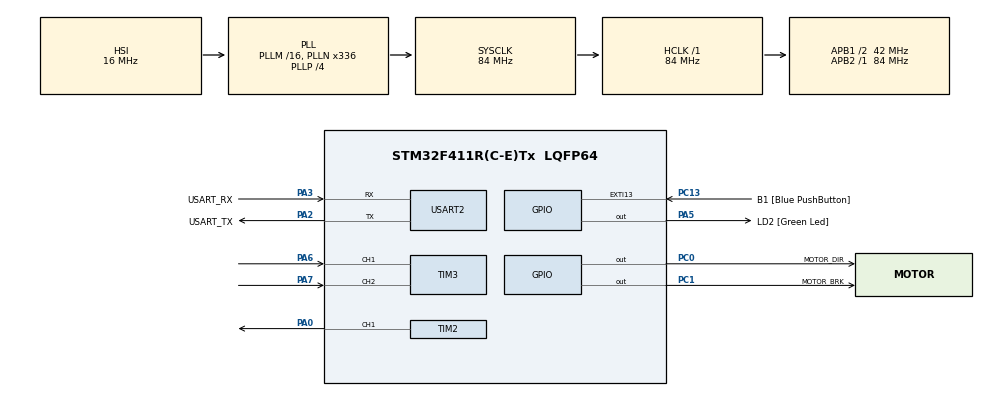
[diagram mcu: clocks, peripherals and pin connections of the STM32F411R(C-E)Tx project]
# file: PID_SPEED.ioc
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Mcu.Family=STM32F4
Mcu.Name=STM32F411R(C-E)Tx
Mcu.Package=LQFP64
NVIC.PriorityGroup=NVIC_PRIORITYGROUP_0
NVIC.TIM1_UP_TIM10_IRQn=true\:0\:0\:false\:false\:true\:true\:true\:true
NVIC.TIM3_IRQn=true\:0\:0\:false\:false\:true\:true\:true\:true
NVIC.USART2_IRQn=true\:0\:0\:false\:false\:true\:true\:true\:true
PA0-WKUP.GPIO_PuPd=GPIO_PULLUP
PA0-WKUP.Signal=S_TIM2_CH1_ETR
PA13.GPIO_Label=TMS
PA13.Signal=SYS_JTMS-SWDIO
PA14.GPIO_Label=TCK
PA14.Signal=SYS_JTCK-SWCLK
PA2.GPIO_Label=USART_TX
PA2.Mode=Asynchronous
PA2.Signal=USART2_TX
PA3.GPIO_Label=USART_RX
PA3.Mode=Asynchronous
PA3.Signal=USART2_RX
PA5.GPIO_Label=LD2 [Green Led]
PA5.Signal=GPIO_Output
PA6.GPIO_PuPd=GPIO_PULLUP
PA6.Signal=S_TIM3_CH1
PA7.GPIO_PuPd=GPIO_PULLUP
PA7.Signal=S_TIM3_CH2
PB3.GPIO_Label=SWO
PB3.Signal=SYS_JTDO-SWO
PC0.GPIO_Label=MOTOR_DIR
PC0.Signal=GPIO_Output
PC1.GPIO_Label=MOTOR_BRK
PC1.Signal=GPIO_Output
PC13-ANTI_TAMP.GPIO_Label=B1 [Blue PushButton]
PC13-ANTI_TAMP.GPIO_ModeDefaultEXTI=GPIO_MODE_IT_FALLING
PC13-ANTI_TAMP.Signal=GPXTI13
PC14-OSC32_IN.Signal=RCC_OSC32_IN
PC15-OSC32_OUT.Signal=RCC_OSC32_OUT
PH0\ -\ OSC_IN.Signal=RCC_OSC_IN
PH1\ -\ OSC_OUT.Signal=RCC_OSC_OUT
ProjectManager.HeapSize=0x200
ProjectManager.StackSize=0x400
ProjectManager.TargetToolchain=STM32CubeIDE
RCC.48MHZClocksFreq_Value=84000000
RCC.AHBFreq_Value=84000000
RCC.APB1CLKDivider=RCC_HCLK_DIV2
RCC.APB1Freq_Value=42000000
RCC.APB1TimFreq_Value=84000000
RCC.APB2Freq_Value=84000000
RCC.APB2TimFreq_Value=84000000
RCC.CortexFreq_Value=84000000
RCC.FLatency-AdvancedSettings=FLASH_LATENCY_2
RCC.HCLKFreq_Value=84000000
RCC.HSE_VALUE=8000000
RCC.HSI_VALUE=16000000
RCC.LSE_VALUE=32768
RCC.PLLN=336
RCC.PLLP=RCC_PLLP_DIV4
RCC.SYSCLKFreq_VALUE=84000000
RCC.SYSCLKSource=RCC_SYSCLKSOURCE_PLLCLK
RCC.VCOOutputFreq_Value=336000000
SH.S_TIM2_CH1_ETR.0=TIM2_CH1,PWM Generation1 CH1
SH.S_TIM3_CH1.0=TIM3_CH1,Encoder_Interface
SH.S_TIM3_CH2.0=TIM3_CH2,Encoder_Interface
TIM10.Period=1000-1
TIM10.Prescaler=840-1
TIM2.Channel-PWM\ Generation1\ CH1=TIM_CHANNEL_1
TIM2.Period=10000-1
TIM2.Prescaler=0
TIM2.Pulse-PWM\ Generation1\ CH1=0
TIM3.EncoderMode=TIM_ENCODERMODE_TI12
USART2.VirtualMode=VM_ASYNC
VP_TIM10_VS_ClockSourceINT.Mode=Enable_Timer
board=NUCLEO-F411RE

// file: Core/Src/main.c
/* USER CODE BEGIN Header */
/**
 ******************************************************************************
 * @file           : main.c
 * @brief          : Main program body
 ******************************************************************************
 * @attention
 *
 * Copyright (c) 2022 STMicroelectronics.
 * All rights reserved.
 *
 * This software is licensed under terms that can be found in the LICENSE file
 * in the root directory of this software component.
 * If no LICENSE file comes with this software, it is provided AS-IS.
 *
 ******************************************************************************
 */
/* USER CODE END Header */
#include "main.h"

/* USER CODE BEGIN Includes */
#include "motor.h"
#include "string.h"
#include "stdio.h"
#include "math.h"
/* USER CODE END Includes */

TIM_HandleTypeDef htim2;
TIM_HandleTypeDef htim3;
TIM_HandleTypeDef htim10;

UART_HandleTypeDef huart2;

/* USER CODE BEGIN PV */
extern float I;

static uint8_t tx_buffer[1000]; //UART

#define CNT_MID 32768
#define TOTAL_CNT 26
#define RXBUF_SIZE	6
#define DEAD_ZONE

//#define DIAMETER 2*3.14*DIAMETER //If you have wheel put the wheel's diameter

int target_speed = 0; // for decimal point calculation declar float format
int current_speed = 0; //
float control = 0;

uint8_t flag_10Hz = 0;
uint8_t flag_cmd = 0;
uint8_t rdt = 10;

uint8_t rxdata[2] = { 0, };
uint8_t rxDataPC[RXBUF_SIZE] = { 0, }; //Serial communication

/* USER CODE END PV */

void SystemClock_Config(void);
static void MX_GPIO_Init(void);
static void MX_TIM2_Init(void);
static void MX_TIM3_Init(void);
static void MX_TIM10_Init(void);
static void MX_USART2_UART_Init(void);
/* USER CODE BEGIN PFP */
static void tx_com(uint8_t *tx_buffer, uint16_t len);
void SET_PWM(int8_t *speed);
int GET_SPEED();
//void Clip_Pwm(float *dir_pwm, int32_t min, int32_t max);
/* USER CODE END PFP */

int main(void)
{
  /* USER CODE BEGIN 1 */
	uint8_t str_speed[3];
  /* USER CODE END 1 */

  /* MCU Configuration--------------------------------------------------------*/

  /* Reset of all peripherals, Initializes the Flash interface and the Systick. */
  HAL_Init();

  /* Configure the system clock */
  SystemClock_Config();

  /* Initialize all configured peripherals */
  MX_GPIO_Init();
  MX_TIM2_Init();
  MX_TIM3_Init();
  MX_TIM10_Init();
  MX_USART2_UART_Init();
  /* USER CODE BEGIN 2 */
	HAL_TIM_Base_Start_IT(&htim10);
	HAL_TIM_PWM_Start(&htim2, TIM_CHANNEL_1);
	HAL_TIM_Encoder_Start(&htim3, TIM_CHANNEL_ALL);
	HAL_GPIO_WritePin(MOTOR_DIR_GPIO_Port, MOTOR_DIR_Pin, SET);
	HAL_UART_Receive_IT(&huart2, &rxdata[0], 1);
	TIM3->CNT = CNT_MID;

	sprintf((char*) tx_buffer, "PID start\r\n");
					tx_com(tx_buffer, strlen((char const*) tx_buffer));
  /* USER CODE END 2 */

  /* Infinite loop */
	while (1) {

    /* USER CODE BEGIN 3 */
		if (flag_cmd) {
			flag_cmd = 0;
			if ((rxDataPC[0] == 'S') & (rxDataPC[1] == 'S')) {
				I = 0;
				for (int num = 0; num < 3; num++) {
					str_speed[num] = rxDataPC[num + 3];
				} //degree setting
				target_speed = atoi(str_speed); //char to int
				if (rxDataPC[2] == '-') {
					target_speed *= -1;
				}
			}
		}
		if (flag_10Hz == 1) {
			flag_10Hz = 0;

			current_speed = GET_SPEED();
			control += PID(target_speed, current_speed);

			TIM2->CCR1 = TIM2->ARR * (fabs(control) > 1.0 ? 1 : fabs(control));
			HAL_GPIO_WritePin(MOTOR_DIR_GPIO_Port, MOTOR_DIR_Pin, control > 0);

//			static int count = 0;
//			if (count == 5) {
				sprintf((char*) tx_buffer, "%d,%d,%f,%ld\r\n", target_speed,
						current_speed, control, TIM2->CCR1);
				tx_com(tx_buffer, strlen((char const*) tx_buffer));
//				count = 0;
//			}
//			count++;
		}
	}
  /* USER CODE END 3 */
}

void SystemClock_Config(void)
{
  RCC_OscInitTypeDef RCC_OscInitStruct = {0};
  RCC_ClkInitTypeDef RCC_ClkInitStruct = {0};

  /** Configure the main internal regulator output voltage
  */
  __HAL_RCC_PWR_CLK_ENABLE();
  __HAL_PWR_VOLTAGESCALING_CONFIG(PWR_REGULATOR_VOLTAGE_SCALE1);

  /** Initializes the RCC Oscillators according to the specified parameters
  * in the RCC_OscInitTypeDef structure.
  */
  RCC_OscInitStruct.OscillatorType = RCC_OSCILLATORTYPE_HSI;
  RCC_OscInitStruct.HSIState = RCC_HSI_ON;
  RCC_OscInitStruct.HSICalibrationValue = RCC_HSICALIBRATION_DEFAULT;
  RCC_OscInitStruct.PLL.PLLState = RCC_PLL_ON;
  RCC_OscInitStruct.PLL.PLLSource = RCC_PLLSOURCE_HSI;
  RCC_OscInitStruct.PLL.PLLM = 16;
  RCC_OscInitStruct.PLL.PLLN = 336;
  RCC_OscInitStruct.PLL.PLLP = RCC_PLLP_DIV4;
  RCC_OscInitStruct.PLL.PLLQ = 4;
  if (HAL_RCC_OscConfig(&RCC_OscInitStruct) != HAL_OK)
  {
    Error_Handler();
  }

  /** Initializes the CPU, AHB and APB buses clocks
  */
  RCC_ClkInitStruct.ClockType = RCC_CLOCKTYPE_HCLK|RCC_CLOCKTYPE_SYSCLK
                              |RCC_CLOCKTYPE_PCLK1|RCC_CLOCKTYPE_PCLK2;
  RCC_ClkInitStruct.SYSCLKSource = RCC_SYSCLKSOURCE_PLLCLK;
  RCC_ClkInitStruct.AHBCLKDivider = RCC_SYSCLK_DIV1;
  RCC_ClkInitStruct.APB1CLKDivider = RCC_HCLK_DIV2;
  RCC_ClkInitStruct.APB2CLKDivider = RCC_HCLK_DIV1;

  if (HAL_RCC_ClockConfig(&RCC_ClkInitStruct, FLASH_LATENCY_2) != HAL_OK)
  {
    Error_Handler();
  }
}

static void MX_TIM2_Init(void)
{

  TIM_MasterConfigTypeDef sMasterConfig = {0};
  TIM_OC_InitTypeDef sConfigOC = {0};

  htim2.Instance = TIM2;
  htim2.Init.Prescaler = 0;
  htim2.Init.CounterMode = TIM_COUNTERMODE_UP;
  htim2.Init.Period = 10000-1;
  htim2.Init.ClockDivision = TIM_CLOCKDIVISION_DIV1;
  htim2.Init.AutoReloadPreload = TIM_AUTORELOAD_PRELOAD_DISABLE;
  if (HAL_TIM_PWM_Init(&htim2) != HAL_OK)
  {
    Error_Handler();
  }
  sMasterConfig.MasterOutputTrigger = TIM_TRGO_RESET;
  sMasterConfig.MasterSlaveMode = TIM_MASTERSLAVEMODE_DISABLE;
  if (HAL_TIMEx_MasterConfigSynchronization(&htim2, &sMasterConfig) != HAL_OK)
  {
    Error_Handler();
  }
  sConfigOC.OCMode = TIM_OCMODE_PWM1;
  sConfigOC.Pulse = 0;
  sConfigOC.OCPolarity = TIM_OCPOLARITY_HIGH;
  sConfigOC.OCFastMode = TIM_OCFAST_DISABLE;
  if (HAL_TIM_PWM_ConfigChannel(&htim2, &sConfigOC, TIM_CHANNEL_1) != HAL_OK)
  {
    Error_Handler();
  }
  HAL_TIM_MspPostInit(&htim2);

}

static void MX_TIM3_Init(void)
{

  TIM_Encoder_InitTypeDef sConfig = {0};
  TIM_MasterConfigTypeDef sMasterConfig = {0};

  htim3.Instance = TIM3;
  htim3.Init.Prescaler = 0;
  htim3.Init.CounterMode = TIM_COUNTERMODE_UP;
  htim3.Init.Period = 65535;
  htim3.Init.ClockDivision = TIM_CLOCKDIVISION_DIV1;
  htim3.Init.AutoReloadPreload = TIM_AUTORELOAD_PRELOAD_DISABLE;
  sConfig.EncoderMode = TIM_ENCODERMODE_TI12;
  sConfig.IC1Polarity = TIM_ICPOLARITY_RISING;
  sConfig.IC1Selection = TIM_ICSELECTION_DIRECTTI;
  sConfig.IC1Prescaler = TIM_ICPSC_DIV1;
  sConfig.IC1Filter = 0;
  sConfig.IC2Polarity = TIM_ICPOLARITY_RISING;
  sConfig.IC2Selection = TIM_ICSELECTION_DIRECTTI;
  sConfig.IC2Prescaler = TIM_ICPSC_DIV1;
  sConfig.IC2Filter = 0;
  if (HAL_TIM_Encoder_Init(&htim3, &sConfig) != HAL_OK)
  {
    Error_Handler();
  }
  sMasterConfig.MasterOutputTrigger = TIM_TRGO_RESET;
  sMasterConfig.MasterSlaveMode = TIM_MASTERSLAVEMODE_DISABLE;
  if (HAL_TIMEx_MasterConfigSynchronization(&htim3, &sMasterConfig) != HAL_OK)
  {
    Error_Handler();
  }

}

static void MX_TIM10_Init(void)
{

  htim10.Instance = TIM10;
  htim10.Init.Prescaler = 840-1;
  htim10.Init.CounterMode = TIM_COUNTERMODE_UP;
  htim10.Init.Period = 1000-1;
  htim10.Init.ClockDivision = TIM_CLOCKDIVISION_DIV1;
  htim10.Init.AutoReloadPreload = TIM_AUTORELOAD_PRELOAD_DISABLE;
  if (HAL_TIM_Base_Init(&htim10) != HAL_OK)
  {
    Error_Handler();
  }

}

static void MX_USART2_UART_Init(void)
{

  huart2.Instance = USART2;
  huart2.Init.BaudRate = 115200;
  huart2.Init.WordLength = UART_WORDLENGTH_8B;
  huart2.Init.StopBits = UART_STOPBITS_1;
  huart2.Init.Parity = UART_PARITY_NONE;
  huart2.Init.Mode = UART_MODE_TX_RX;
  huart2.Init.HwFlowCtl = UART_HWCONTROL_NONE;
  huart2.Init.OverSampling = UART_OVERSAMPLING_16;
  if (HAL_UART_Init(&huart2) != HAL_OK)
  {
    Error_Handler();
  }

}

static void MX_GPIO_Init(void)
{
  GPIO_InitTypeDef GPIO_InitStruct = {0};

  /* GPIO Ports Clock Enable */
  __HAL_RCC_GPIOC_CLK_ENABLE();
  __HAL_RCC_GPIOH_CLK_ENABLE();
  __HAL_RCC_GPIOA_CLK_ENABLE();
  __HAL_RCC_GPIOB_CLK_ENABLE();

  /*Configure GPIO pin Output Level */
  HAL_GPIO_WritePin(GPIOC, MOTOR_DIR_Pin|MOTOR_BRK_Pin, GPIO_PIN_RESET);

  /*Configure GPIO pin Output Level */
  HAL_GPIO_WritePin(LD2_GPIO_Port, LD2_Pin, GPIO_PIN_RESET);

  /*Configure GPIO pin : B1_Pin */
  GPIO_InitStruct.Pin = B1_Pin;
  GPIO_InitStruct.Mode = GPIO_MODE_IT_FALLING;
  GPIO_InitStruct.Pull = GPIO_NOPULL;
  HAL_GPIO_Init(B1_GPIO_Port, &GPIO_InitStruct);

  /*Configure GPIO pins : MOTOR_DIR_Pin MOTOR_BRK_Pin */
  GPIO_InitStruct.Pin = MOTOR_DIR_Pin|MOTOR_BRK_Pin;
  GPIO_InitStruct.Mode = GPIO_MODE_OUTPUT_PP;
  GPIO_InitStruct.Pull = GPIO_NOPULL;
  GPIO_InitStruct.Speed = GPIO_SPEED_FREQ_LOW;
  HAL_GPIO_Init(GPIOC, &GPIO_InitStruct);

  /*Configure GPIO pin : LD2_Pin */
  GPIO_InitStruct.Pin = LD2_Pin;
  GPIO_InitStruct.Mode = GPIO_MODE_OUTPUT_PP;
  GPIO_InitStruct.Pull = GPIO_NOPULL;
  GPIO_InitStruct.Speed = GPIO_SPEED_FREQ_LOW;
  HAL_GPIO_Init(LD2_GPIO_Port, &GPIO_InitStruct);

}

/* USER CODE BEGIN 4 */
static void tx_com(uint8_t *tx_buffer, uint16_t len) {
	HAL_UART_Transmit(&huart2, tx_buffer, len, 100);
}
void HAL_UART_RxCpltCallback(UART_HandleTypeDef *huart) {
	if (huart->Instance == huart2.Instance) {
		volatile static uint8_t rxcnt = 0;
		static uint8_t rxbuf[RXBUF_SIZE]; // cmd :  2, parm :  4

		if ('<' == rxdata[0] && rxcnt == 0) {
			rxcnt = 1;
		} else if (rxcnt > 0 && rxcnt < (RXBUF_SIZE + 1)) {
			rxbuf[rxcnt - 1] = rxdata[0];
			rxcnt++;
		} else if (rxcnt == (RXBUF_SIZE + 1) && rxdata[0] == '>') {
			rxcnt = 0;
			memcpy(rxDataPC, rxbuf, RXBUF_SIZE);
			flag_cmd = 1;
		} else {
			rxcnt = 0;
		}
		HAL_UART_Receive_IT(&huart2, &rxdata[0], 1); //continue receive data from bluetooth
	}
}
void HAL_TIM_PeriodElapsedCallback(TIM_HandleTypeDef *htim) {
	if (htim->Instance == htim10.Instance) {
		flag_10Hz = 1;
	}
}

int GET_SPEED() {
	int gapCNT = TIM3->CNT - CNT_MID;
//	int gapCNT = TIM3->CNT;
//	float speed = (DIAMETER)(gapCNT/TOTAL_CNT)*rdt; //this variable is for you know your wheel diameter
	int speed = gapCNT; //this variable is for just CNT ratio.
	TIM3->CNT = CNT_MID;
	return speed;
}
/* USER CODE END 4 */

void Error_Handler(void)
{
	__disable_irq();
	while (1) {
	}
}
